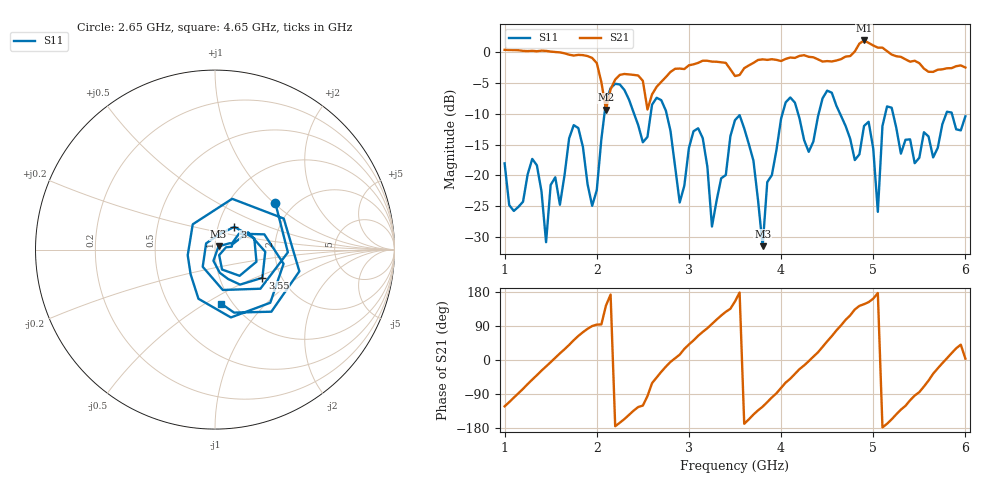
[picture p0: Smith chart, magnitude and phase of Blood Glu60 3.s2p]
! NanoVNA-App
! Date: 2024-03-21 12:31:05
! Start: 1GHz Stop: 6GHz Points: 101
! S-Parameter data: F S11 S21 S12 S22
# Hz S RI R 50
!	Frequency	S11_Real	S11_Imag	S21_Real	S21_Imag	S12_Real	S12_Imag	S22_Real	S22_Imag
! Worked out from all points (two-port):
!   101 points, 1 GHz to 6 GHz, reference 50 ohm
!   highest |S21| = 1.84 dB at 4.9 GHz (marker M1); lowest = -9.4 dB at 2.1 GHz (marker M2)
!   |S21| within 3 dB of the highest: start of sweep to 1.96 GHz; 4.653 GHz to 5.343 GHz (689.9 MHz wide, 13.8 % of centre) (the widest 2 of 3)
!   lowest |S11| = -31.5 dB at 3.8 GHz (marker M3), VSWR 1.05, Z = 52 + j1.88 ohm
!   |S11| at or under -10 dB: start of sweep to 2.084 GHz; 2.757 GHz to 4.015 GHz (1.258 GHz wide, 37.2 % of centre); 5.215 GHz to 5.793 GHz (577.8 MHz wide, 10.5 % of centre) (the widest 3 of 7)
!   S12 and S22 are empty: the file has one direction only
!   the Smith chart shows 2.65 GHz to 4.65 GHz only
!   S11 on the Smith chart (normalised r, x): 2.65 GHz: 1.61, +1.02; 3 GHz: 1.20, +0.31; 3.55 GHz: 1.60, -0.55; 4.65 GHz: 0.89, -0.59
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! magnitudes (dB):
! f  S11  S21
! 1 GHz  -18.0  0.3
! 1.35 GHz  -18.4  0.1
! 1.45 GHz  -30.8  0.2
! 1.85 GHz  -15.4  -0.5
! 1.95 GHz  -24.9  -1.0
! 2.1 GHz  -8.1  -9.4
! 2.65 GHz  -7.4  -5.7
! 2.7 GHz  -7.8  -4.9
! 2.9 GHz  -24.4  -2.7
! 3 GHz  -15.6  -2.2
! 3.15 GHz  -14.0  -1.4
! 3.25 GHz  -28.3  -1.6
! 3.5 GHz  -11.0  -3.9
! 3.55 GHz  -10.3  -3.8
! 3.8 GHz  -31.5  -1.2
! 4.05 GHz  -8.2  -1.1
! 4.35 GHz  -14.5  -0.9
! 4.65 GHz  -10.3  -1.2
! 4.9 GHz  -12.0  1.8
! 5.05 GHz  -25.9  0.7
! 5.2 GHz  -9.0  -0.4
! 6 GHz  -10.4  -2.5
